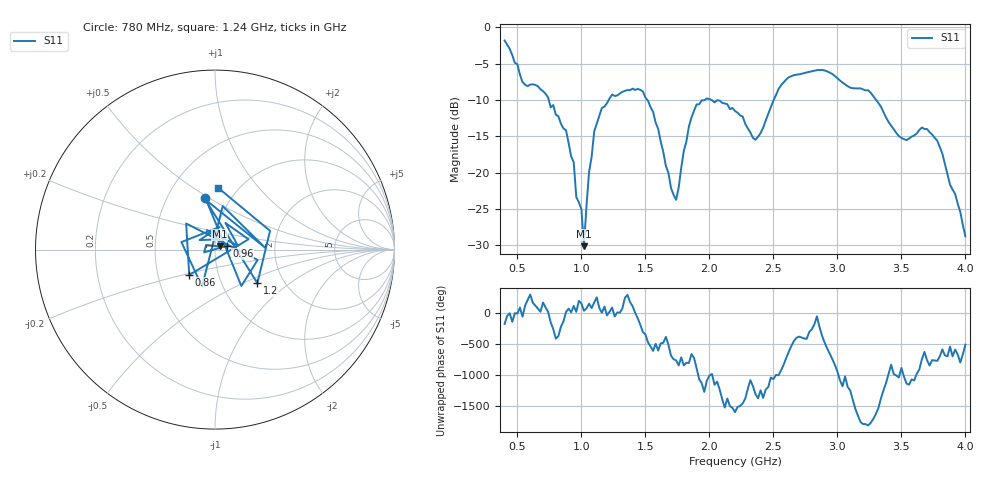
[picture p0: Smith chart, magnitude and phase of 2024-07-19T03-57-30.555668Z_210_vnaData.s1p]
!Created with skrf (http://scikit-rf.org).
# Hz S RI R 50.0
!freq ReS11 ImS11
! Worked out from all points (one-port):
!   181 points, 400 MHz to 4 GHz, reference 50 ohm
!   lowest |S11| = -30.1 dB at 1.02 GHz (marker M1), VSWR 1.06, Z = 52.6 + j1.88 ohm
!   |S11| at or under -10 dB: 745 MHz to 1.213 GHz (468.4 MHz wide, 47.8 % of centre); 2.017 GHz to 2.502 GHz (484.5 MHz wide, 21.4 % of centre); 3.303 GHz to end of sweep (the widest 3 of 4)
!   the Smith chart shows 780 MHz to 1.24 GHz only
!   S11 on the Smith chart (normalised r, x): 780 MHz: 0.77, +0.48; 860 MHz: 0.72, -0.21; 960 MHz: 1.14, +0.05; 1.2 GHz: 1.47, -0.60; 1.24 GHz: 0.81, +0.64
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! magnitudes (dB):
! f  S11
! 400 MHz  -1.8
! 540 MHz  -7.5
! 780 MHz  -10.7
! 860 MHz  -13.9
! 940 MHz  -18.6
! 960 MHz  -23.4
! 1 GHz  -25.1
! 1.02 GHz  -30.1
! 1.06 GHz  -19.9
! 1.1 GHz  -14.3
! 1.2 GHz  -10.4
! 1.24 GHz  -9.3
! 1.3 GHz  -9.1
! 1.48 GHz  -8.8
! 1.6 GHz  -14.0
! 1.7 GHz  -22.1
! 1.74 GHz  -23.8
! 1.76 GHz  -22.1
! 1.84 GHz  -13.6
! 1.9 GHz  -10.6
! 2.2 GHz  -11.5
! 2.36 GHz  -15.5
! 2.66 GHz  -6.6
! 3.1 GHz  -8.3
! 3.24 GHz  -8.7
! 3.56 GHz  -15.3
! 3.78 GHz  -15.6
! 4 GHz  -28.8
